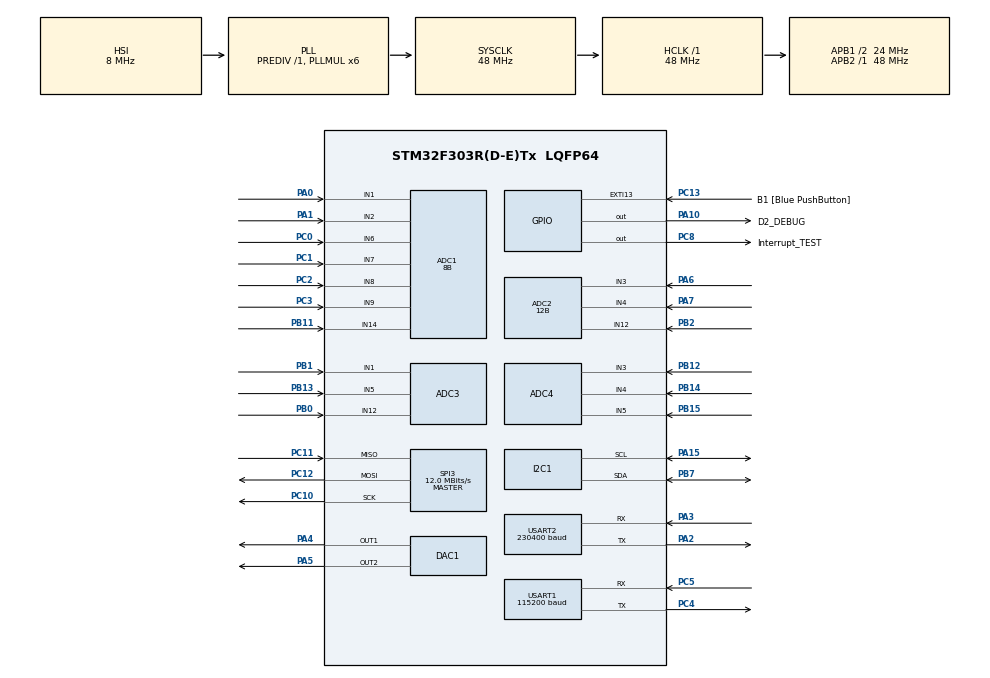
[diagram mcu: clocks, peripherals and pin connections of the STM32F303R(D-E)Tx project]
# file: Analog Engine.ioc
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ADC1.Channel-0\#ChannelRegularConversion=ADC_CHANNEL_1
ADC1.Channel-1\#ChannelRegularConversion=ADC_CHANNEL_2
ADC1.ClockPrescaler=ADC_CLOCK_ASYNC_DIV1
ADC1.ContinuousConvMode=DISABLE
ADC1.DMAContinuousRequests=ENABLE
ADC1.DataAlign=ADC_DATAALIGN_RIGHT
ADC1.DiscontinuousConvMode=DISABLE
ADC1.EOCSelection=ADC_EOC_SEQ_CONV
ADC1.EnableAnalogWatchDog1=false
ADC1.EnableAnalogWatchDog2=false
ADC1.EnableAnalogWatchDog3=false
ADC1.EnableInjectedConversion=ENABLE
ADC1.EnableRegularConversion=ENABLE
ADC1.ExternalTrigConv=ADC_EXTERNALTRIGCONV_T1_TRGO
ADC1.ExternalTrigConvEdge=ADC_EXTERNALTRIGCONVEDGE_RISING
ADC1.InjNumberOfConversion=0
ADC1.LowPowerAutoWait=DISABLE
ADC1.NbrOfConversion=2
ADC1.NbrOfConversionFlag=1
ADC1.Offset-0\#ChannelRegularConversion=0
ADC1.Offset-1\#ChannelRegularConversion=0
ADC1.OffsetNumber-0\#ChannelRegularConversion=ADC_OFFSET_NONE
ADC1.OffsetNumber-1\#ChannelRegularConversion=ADC_OFFSET_NONE
ADC1.Overrun=ADC_OVR_DATA_OVERWRITTEN
ADC1.Rank-0\#ChannelRegularConversion=1
ADC1.Rank-1\#ChannelRegularConversion=2
ADC1.Resolution=ADC_RESOLUTION_8B
ADC1.SamplingTime-0\#ChannelRegularConversion=ADC_SAMPLETIME_19CYCLES_5
ADC1.SamplingTime-1\#ChannelRegularConversion=ADC_SAMPLETIME_19CYCLES_5
ADC1.ScanConvMode=ADC_SCAN_ENABLE
ADC1.master=1
ADC2.Channel-0\#ChannelRegularConversion=ADC_CHANNEL_9
ADC2.ContinuousConvMode=DISABLE
ADC2.DMAContinuousRequests=DISABLE
ADC2.DataAlign=ADC_DATAALIGN_RIGHT
ADC2.DiscontinuousConvMode=DISABLE
ADC2.EOCSelection=ADC_EOC_SINGLE_CONV
ADC2.EnableAnalogWatchDog1=false
ADC2.EnableAnalogWatchDog2=false
ADC2.EnableAnalogWatchDog3=false
ADC2.EnableInjectedConversion=ENABLE
ADC2.EnableRegularConversion=ENABLE
ADC2.ExternalTrigConv=ADC_SOFTWARE_START
ADC2.ExternalTrigConvEdge=ADC_EXTERNALTRIGCONVEDGE_NONE
ADC2.InjNumberOfConversion=0
ADC2.LowPowerAutoWait=DISABLE
ADC2.NbrOfConversion=1
ADC2.NbrOfConversionFlag=1
ADC2.Offset-0\#ChannelRegularConversion=0
ADC2.OffsetNumber-0\#ChannelRegularConversion=ADC_OFFSET_NONE
ADC2.Overrun=ADC_OVR_DATA_OVERWRITTEN
ADC2.Rank-0\#ChannelRegularConversion=1
ADC2.Resolution=ADC_RESOLUTION_12B
ADC2.SamplingTime-0\#ChannelRegularConversion=ADC_SAMPLETIME_1CYCLE_5
ADC2.ScanConvMode=ADC_SCAN_DISABLE
ADC3.Channel-0\#ChannelRegularConversion=ADC_CHANNEL_1
ADC3.NbrOfConversionFlag=1
ADC3.Offset-0\#ChannelRegularConversion=0
ADC3.OffsetNumber-0\#ChannelRegularConversion=ADC_OFFSET_NONE
ADC3.Rank-0\#ChannelRegularConversion=1
ADC3.SamplingTime-0\#ChannelRegularConversion=ADC_SAMPLETIME_1CYCLE_5
ADC3.master=1
ADC4.Channel-0\#ChannelRegularConversion=ADC_CHANNEL_3
ADC4.NbrOfConversionFlag=1
ADC4.Offset-0\#ChannelRegularConversion=0
ADC4.OffsetNumber-0\#ChannelRegularConversion=ADC_OFFSET_NONE
ADC4.Rank-0\#ChannelRegularConversion=1
ADC4.SamplingTime-0\#ChannelRegularConversion=ADC_SAMPLETIME_1CYCLE_5
Dma.ADC1.2.Direction=DMA_PERIPH_TO_MEMORY
Dma.ADC1.2.Instance=DMA1_Channel1
Dma.ADC1.2.MemDataAlignment=DMA_MDATAALIGN_WORD
Dma.ADC1.2.MemInc=DMA_MINC_ENABLE
Dma.ADC1.2.Mode=DMA_CIRCULAR
Dma.ADC1.2.PeriphDataAlignment=DMA_PDATAALIGN_WORD
Dma.ADC1.2.PeriphInc=DMA_PINC_DISABLE
Dma.ADC1.2.Priority=DMA_PRIORITY_LOW
Dma.Request0=USART1_RX
Dma.Request1=USART1_TX
Dma.Request2=ADC1
Dma.USART1_RX.0.Direction=DMA_PERIPH_TO_MEMORY
Dma.USART1_RX.0.Instance=DMA1_Channel5
Dma.USART1_RX.0.MemDataAlignment=DMA_MDATAALIGN_BYTE
Dma.USART1_RX.0.MemInc=DMA_MINC_ENABLE
Dma.USART1_RX.0.Mode=DMA_CIRCULAR
Dma.USART1_RX.0.PeriphDataAlignment=DMA_PDATAALIGN_BYTE
Dma.USART1_RX.0.PeriphInc=DMA_PINC_DISABLE
Dma.USART1_RX.0.Priority=DMA_PRIORITY_LOW
Dma.USART1_TX.1.Direction=DMA_MEMORY_TO_PERIPH
Dma.USART1_TX.1.Instance=DMA1_Channel4
Dma.USART1_TX.1.MemDataAlignment=DMA_MDATAALIGN_BYTE
Dma.USART1_TX.1.MemInc=DMA_MINC_ENABLE
Dma.USART1_TX.1.Mode=DMA_CIRCULAR
Dma.USART1_TX.1.PeriphDataAlignment=DMA_PDATAALIGN_BYTE
Dma.USART1_TX.1.PeriphInc=DMA_PINC_DISABLE
Dma.USART1_TX.1.Priority=DMA_PRIORITY_VERY_HIGH
Mcu.Family=STM32F3
Mcu.Name=STM32F303R(D-E)Tx
Mcu.Package=LQFP64
NVIC.ADC1_2_IRQn=true\:0\:0\:false\:false\:true\:true
NVIC.DMA1_Channel1_IRQn=true\:0\:0\:false\:false\:true\:false
NVIC.DMA1_Channel4_IRQn=true\:0\:0\:false\:false\:true\:false
NVIC.DMA1_Channel5_IRQn=true\:0\:0\:false\:false\:true\:false
NVIC.PriorityGroup=NVIC_PRIORITYGROUP_0
PA0.Mode=IN1-Single-Ended
PA0.Signal=ADC1_IN1
PA1.Mode=IN2-Single-Ended
PA1.Signal=ADC1_IN2
PA10.GPIO_Label=D2_DEBUG
PA10.Signal=GPIO_Output
PA13.GPIO_Label=TMS
PA13.Mode=Serial_Wire
PA13.Signal=SYS_JTMS-SWDIO
PA14.GPIO_Label=TCK
PA14.Mode=Serial_Wire
PA14.Signal=SYS_JTCK-SWCLK
PA15.Mode=I2C
PA15.Signal=I2C1_SCL
PA2.Mode=Asynchronous
PA2.Signal=USART2_TX
PA3.Mode=Asynchronous
PA3.Signal=USART2_RX
PA4.Signal=COMP_DAC11_group
PA5.Signal=COMP_DAC12_group
PA6.Mode=IN3-Single-Ended
PA6.Signal=ADC2_IN3
PA7.Mode=IN4-Single-Ended
PA7.Signal=ADC2_IN4
PB0.Mode=IN12-Single-Ended
PB0.Signal=ADC3_IN12
PB1.Mode=IN1-Single-Ended
PB1.Signal=ADC3_IN1
PB11.Mode=IN14-Single-Ended
PB11.Signal=ADC1_IN14
PB12.Mode=IN3-Single-Ended
PB12.Signal=ADC4_IN3
PB13.Mode=IN5-Single-Ended
PB13.Signal=ADC3_IN5
PB14.Mode=IN4-Single-Ended
PB14.Signal=ADC4_IN4
PB15.Mode=IN5-Single-Ended
PB15.Signal=ADC4_IN5
PB2.Mode=IN12-Single-Ended
PB2.Signal=ADC2_IN12
PB3.GPIO_Label=SWO
PB3.Signal=SYS_JTDO-TRACESWO
PB7.Mode=I2C
PB7.Signal=I2C1_SDA
PC0.Signal=ADCx_IN6
PC1.Signal=ADCx_IN7
PC10.Mode=Full_Duplex_Master
PC10.Signal=SPI3_SCK
PC11.Mode=Full_Duplex_Master
PC11.Signal=SPI3_MISO
PC12.Mode=Full_Duplex_Master
PC12.Signal=SPI3_MOSI
PC13.GPIO_Label=B1 [Blue PushButton]
PC13.GPIO_ModeDefaultEXTI=GPIO_MODE_IT_FALLING
PC13.Signal=GPXTI13
PC14-OSC32_IN.Mode=LSE-External-Oscillator
PC14-OSC32_IN.Signal=RCC_OSC32_IN
PC15-OSC32_OUT.Mode=LSE-External-Oscillator
PC15-OSC32_OUT.Signal=RCC_OSC32_OUT
PC2.Signal=ADCx_IN8
PC3.Signal=ADCx_IN9
PC4.Mode=Asynchronous
PC4.Signal=USART1_TX
PC5.Mode=Asynchronous
PC5.Signal=USART1_RX
PC8.GPIO_Label=Interrupt_TEST
PC8.Signal=GPIO_Output
PF0-OSC_IN.Mode=HSE-External-Clock-Source
PF0-OSC_IN.Signal=RCC_OSC_IN
PF1-OSC_OUT.Signal=RCC_OSC_OUT
ProjectManager.HeapSize=0x200
ProjectManager.StackSize=0x400
ProjectManager.TargetToolchain=SW4STM32
RCC.ADC12PRES=RCC_ADC12PLLCLK_DIV10
RCC.AHBFreq_Value=48000000
RCC.APB1CLKDivider=RCC_HCLK_DIV2
RCC.APB1Freq_Value=24000000
RCC.APB1TimFreq_Value=48000000
RCC.APB2Freq_Value=48000000
RCC.APB2TimFreq_Value=48000000
RCC.CortexFreq_Value=48000000
RCC.HCLKFreq_Value=48000000
RCC.HSE_VALUE=8000000
RCC.HSI_VALUE=8000000
RCC.PLLM=8
RCC.PLLMUL=RCC_PLL_MUL6
RCC.PLLN=336
RCC.PLLP=RCC_PLLP_DIV4
RCC.PLLQ=7
RCC.RCC_PLLsource_Clock_Source_FROM_HSE=RCC_HSE_PREDIV_DIV2
RCC.SYSCLKFreq_VALUE=48000000
RCC.SYSCLKSourceVirtual=RCC_SYSCLKSOURCE_PLLCLK
RCC.USBFreq_Value=48000000
RCC.Usart2ClockSelection=RCC_USART2CLKSOURCE_SYSCLK
SH.ADCx_IN6.0=ADC1_IN6,IN6-Single-Ended
SH.ADCx_IN6.1=ADC2_IN6,IN6-Single-Ended
SH.ADCx_IN7.0=ADC1_IN7,IN7-Single-Ended
SH.ADCx_IN7.1=ADC2_IN7,IN7-Single-Ended
SH.ADCx_IN8.0=ADC1_IN8,IN8-Single-Ended
SH.ADCx_IN8.1=ADC2_IN8,IN8-Single-Ended
SH.ADCx_IN9.0=ADC1_IN9,IN9-Single-Ended
SH.ADCx_IN9.1=ADC2_IN9,IN9-Single-Ended
SH.COMP_DAC11_group.0=DAC1_OUT1,DAC_OUT1
SH.COMP_DAC12_group.0=DAC1_OUT2,Enable_DAC_OUT2
SPI3.CalculateBaudRate=12.0 MBits/s
SPI3.Direction=SPI_DIRECTION_2LINES
SPI3.Mode=SPI_MODE_MASTER
SPI3.VirtualType=VM_MASTER
TIM1.Period=1000
TIM1.Prescaler=1
TIM1.TIM_MasterOutputTrigger=TIM_TRGO_UPDATE
TIM4.Period=65535
TIM4.Prescaler=48
USART1.BaudRate=115200
USART1.VirtualMode-Asynchronous=VM_ASYNC
USART1.WordLength=WORDLENGTH_8B
USART2.BaudRate=230400
USART2.VirtualMode-Asynchronous=VM_ASYNC
USART2.WordLength=WORDLENGTH_8B
VP_TIM1_VS_ClockSourceINT.Mode=Internal
VP_TIM4_VS_ClockSourceINT.Mode=Internal
board=NUCLEO-F303RE

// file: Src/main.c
/**
  ******************************************************************************
  * @file           : main.c
  * @brief          : Main program body
  ******************************************************************************
  ** This notice applies to any and all portions of this file
  * that are not between comment pairs USER CODE BEGIN and
  * USER CODE END. Other portions of this file, whether
  * inserted by the user or by software development tools
  * are owned by their respective copyright owners.
  *
  * COPYRIGHT(c) 2019 STMicroelectronics
  *
  * Redistribution and use in source and binary forms, with or without modification,
  * are permitted provided that the following conditions are met:
  *   1. Redistributions of source code must retain the above copyright notice,
  *      this list of conditions and the following disclaimer.
  *   2. Redistributions in binary form must reproduce the above copyright notice,
  *      this list of conditions and the following disclaimer in the documentation
  *      and/or other materials provided with the distribution.
  *   3. Neither the name of STMicroelectronics nor the names of its contributors
  *      may be used to endorse or promote products derived from this software
  *      without specific prior written permission.
  *
  * THIS SOFTWARE IS PROVIDED BY THE COPYRIGHT HOLDERS AND CONTRIBUTORS "AS IS"
  * AND ANY EXPRESS OR IMPLIED WARRANTIES, INCLUDING, BUT NOT LIMITED TO, THE
  * IMPLIED WARRANTIES OF MERCHANTABILITY AND FITNESS FOR A PARTICULAR PURPOSE ARE
  * DISCLAIMED. IN NO EVENT SHALL THE COPYRIGHT HOLDER OR CONTRIBUTORS BE LIABLE
  * FOR ANY DIRECT, INDIRECT, INCIDENTAL, SPECIAL, EXEMPLARY, OR CONSEQUENTIAL
  * DAMAGES (INCLUDING, BUT NOT LIMITED TO, PROCUREMENT OF SUBSTITUTE GOODS OR
  * SERVICES; LOSS OF USE, DATA, OR PROFITS; OR BUSINESS INTERRUPTION) HOWEVER
  * CAUSED AND ON ANY THEORY OF LIABILITY, WHETHER IN CONTRACT, STRICT LIABILITY,
  * OR TORT (INCLUDING NEGLIGENCE OR OTHERWISE) ARISING IN ANY WAY OUT OF THE USE
  * OF THIS SOFTWARE, EVEN IF ADVISED OF THE POSSIBILITY OF SUCH DAMAGE.
  *
  ******************************************************************************
  */
#include "main.h"
#include "stm32f3xx_hal.h"

ADC_HandleTypeDef hadc1;
ADC_HandleTypeDef hadc2;
ADC_HandleTypeDef hadc3;
ADC_HandleTypeDef hadc4;
DMA_HandleTypeDef hdma_adc1;

DAC_HandleTypeDef hdac1;

I2C_HandleTypeDef hi2c1;

SPI_HandleTypeDef hspi3;

TIM_HandleTypeDef htim1;
TIM_HandleTypeDef htim4;

UART_HandleTypeDef huart1;
UART_HandleTypeDef huart2;
DMA_HandleTypeDef hdma_usart1_rx;
DMA_HandleTypeDef hdma_usart1_tx;

/* USER CODE BEGIN PV */
/* Private variables ---------------------------------------------------------*/

/* USER CODE END PV */

void SystemClock_Config(void);
static void MX_GPIO_Init(void);
static void MX_DMA_Init(void);
static void MX_USART1_UART_Init(void);
static void MX_ADC1_Init(void);
static void MX_USART2_UART_Init(void);
static void MX_ADC2_Init(void);
static void MX_ADC3_Init(void);
static void MX_ADC4_Init(void);
static void MX_I2C1_Init(void);
static void MX_DAC1_Init(void);
static void MX_SPI3_Init(void);
static void MX_TIM1_Init(void);
static void MX_TIM4_Init(void);

/* USER CODE BEGIN PFP */
/* Private function prototypes -----------------------------------------------*/

/* USER CODE END PFP */

int main(void)
 {

  /* MCU Configuration----------------------------------------------------------*/

  /* Reset of all peripherals, Initializes the Flash interface and the Systick. */
  HAL_Init();

  /* Configure the system clock */
  SystemClock_Config();

  /* Initialize all configured peripherals */
  MX_GPIO_Init();
  MX_DMA_Init();
  MX_USART1_UART_Init();
  MX_ADC1_Init();
  MX_USART2_UART_Init();
  MX_ADC2_Init();
  MX_ADC3_Init();
  MX_ADC4_Init();
  MX_I2C1_Init();
  MX_DAC1_Init();
  MX_SPI3_Init();
  MX_TIM1_Init();
  MX_TIM4_Init();
  /* USER CODE BEGIN 2 */
  uint16_t count = 0;
  uint8_t byte;
  int add = +1;
  char str[12];

  char transmit[10];
  char UART_RECIVE[10];
  char test;

  float valVolt = 0.1;
  uint16_t valByte;
  uint32_t timerValue = 0;
  uint32_t values[200];

  uint32_t adc[2], buffer[2], sender [2], internal[48000];
  uint32_t avADC[2];

  //int cycles = 3000;
  //int cycles = 2500;
  int cycles = 50;
  int max1 = 0;
  int max2 = 0;
  int maxOUT1 = 0;
  int maxOUT2 = 0;
  /* USER CODE END 2 */

  /* Infinite loop */
  /* USER CODE BEGIN WHILE */
  HAL_TIM_Base_Start(&htim1);

  HAL_ADC_Start_DMA(&hadc1, buffer, 2);
  HAL_UART_Receive_DMA(&huart1, UART_RECIVE,10);
  //HAL_UART_Transmit_DMA(&huart1, transmit,10);
  HAL_DAC_Start(&hdac1, DAC_CHANNEL_1);
  HAL_DAC_Start(&hdac1, DAC_CHANNEL_2);
  HAL_TIM_Base_Start(&htim1);
  HAL_TIM_Base_Start(&htim4);

uint8_t number = 0;

  while (1)
  {

  /* USER CODE END WHILE */

  /* USER CODE BEGIN 3 */

	  /************* Check for Maximum in the last X Cycles ************/
	  if (count >= cycles){count = 0;}

	  if (max1 < buffer[0]){max1 = buffer[0];}
	  if (max2 < buffer[1]){max2 = buffer[1];}

	  if (count == 0){
		  maxOUT1 = max1;
		  maxOUT2 = max2;
		  max1 = 0;
		  max2 = 0;
		  number++;
		  HAL_UART_Transmit(&huart1, transmit,10,10);
	  }

	 count++;
	 /****************************************************************/
	  transmit[0]=0xFF;
	  transmit[1]=count;
	  transmit[2]=0x02;
	  //transmit[3]=number;
	  //transmit[4]=number;
	  transmit[3]=maxOUT1;
	  transmit[4]=maxOUT2;
	  transmit[5]=0x10;
	  transmit[6]=0x10;
	  transmit[7]=0x10;
	  transmit[8]=0x10;
	  transmit[9]=0x10;

	     //Sort Incoming data

		 int start = 0;
		 int offset = 0;
		 char incommingData[10];

		 for(int i = 0; i<10;i++){
			 if (UART_RECIVE[i] == 0xFF){
				   start = i; //start index
				   break;
			 }
		 }

		 if (start == 0){
			 for (int i = 0; i< 10;i++){
				  incommingData[i] = UART_RECIVE[i];
			 }
		 }
		 else if (start != 0){
			 for (int i = 0; i< 10;i++){
				 incommingData[i] = UART_RECIVE[i+start];
				 offset = i+1;
				 if (i+start == 9){
					 break;
				 }
			 }
			 for (int i = 0; i< 10;i++){
				 incommingData[i+offset] = UART_RECIVE[i];
				 if (i+offset == 9){
					 break;
				 }
			 }
		 }

	  HAL_DAC_SetValue(&hdac1, DAC_CHANNEL_1, DAC_ALIGN_12B_R, incommingData[1]);
	  HAL_DAC_SetValue(&hdac1, DAC_CHANNEL_2, DAC_ALIGN_12B_R, incommingData[6]);

	  //HAL_Delay(1);
	  HAL_GPIO_TogglePin(D2_DEBUG_GPIO_Port, D2_DEBUG_Pin);
	  while (__HAL_TIM_GET_COUNTER(&htim4) < 100){

	  }
	  __HAL_TIM_SET_COUNTER(&htim4 , 0);

  }
  /* USER CODE END 3 */

}

void SystemClock_Config(void)
{

  RCC_OscInitTypeDef RCC_OscInitStruct;
  RCC_ClkInitTypeDef RCC_ClkInitStruct;
  RCC_PeriphCLKInitTypeDef PeriphClkInit;

    /**Initializes the CPU, AHB and APB busses clocks
    */
  RCC_OscInitStruct.OscillatorType = RCC_OSCILLATORTYPE_HSI;
  RCC_OscInitStruct.HSIState = RCC_HSI_ON;
  RCC_OscInitStruct.HSICalibrationValue = 16;
  RCC_OscInitStruct.PLL.PLLState = RCC_PLL_ON;
  RCC_OscInitStruct.PLL.PLLSource = RCC_PLLSOURCE_HSI;
  RCC_OscInitStruct.PLL.PLLMUL = RCC_PLL_MUL6;
  RCC_OscInitStruct.PLL.PREDIV = RCC_PREDIV_DIV1;
  if (HAL_RCC_OscConfig(&RCC_OscInitStruct) != HAL_OK)
  {
    _Error_Handler(__FILE__, __LINE__);
  }

    /**Initializes the CPU, AHB and APB busses clocks
    */
  RCC_ClkInitStruct.ClockType = RCC_CLOCKTYPE_HCLK|RCC_CLOCKTYPE_SYSCLK
                              |RCC_CLOCKTYPE_PCLK1|RCC_CLOCKTYPE_PCLK2;
  RCC_ClkInitStruct.SYSCLKSource = RCC_SYSCLKSOURCE_PLLCLK;
  RCC_ClkInitStruct.AHBCLKDivider = RCC_SYSCLK_DIV1;
  RCC_ClkInitStruct.APB1CLKDivider = RCC_HCLK_DIV2;
  RCC_ClkInitStruct.APB2CLKDivider = RCC_HCLK_DIV1;

  if (HAL_RCC_ClockConfig(&RCC_ClkInitStruct, FLASH_LATENCY_1) != HAL_OK)
  {
    _Error_Handler(__FILE__, __LINE__);
  }

  PeriphClkInit.PeriphClockSelection = RCC_PERIPHCLK_USART1|RCC_PERIPHCLK_USART2
                              |RCC_PERIPHCLK_I2C1|RCC_PERIPHCLK_TIM1
                              |RCC_PERIPHCLK_ADC12|RCC_PERIPHCLK_ADC34
                              |RCC_PERIPHCLK_TIM34;
  PeriphClkInit.Usart1ClockSelection = RCC_USART1CLKSOURCE_PCLK2;
  PeriphClkInit.Usart2ClockSelection = RCC_USART2CLKSOURCE_SYSCLK;
  PeriphClkInit.Adc12ClockSelection = RCC_ADC12PLLCLK_DIV10;
  PeriphClkInit.Adc34ClockSelection = RCC_ADC34PLLCLK_DIV1;
  PeriphClkInit.I2c1ClockSelection = RCC_I2C1CLKSOURCE_HSI;
  PeriphClkInit.Tim1ClockSelection = RCC_TIM1CLK_HCLK;
  PeriphClkInit.Tim34ClockSelection = RCC_TIM34CLK_HCLK;
  if (HAL_RCCEx_PeriphCLKConfig(&PeriphClkInit) != HAL_OK)
  {
    _Error_Handler(__FILE__, __LINE__);
  }

    /**Configure the Systick interrupt time
    */
  HAL_SYSTICK_Config(HAL_RCC_GetHCLKFreq()/1000);

    /**Configure the Systick
    */
  HAL_SYSTICK_CLKSourceConfig(SYSTICK_CLKSOURCE_HCLK);

  /* SysTick_IRQn interrupt configuration */
  HAL_NVIC_SetPriority(SysTick_IRQn, 0, 0);
}

/* ADC1 init function */
static void MX_ADC1_Init(void)
{

  ADC_MultiModeTypeDef multimode;
  ADC_ChannelConfTypeDef sConfig;

    /**Common config
    */
  hadc1.Instance = ADC1;
  hadc1.Init.ClockPrescaler = ADC_CLOCK_ASYNC_DIV1;
  hadc1.Init.Resolution = ADC_RESOLUTION_8B;
  hadc1.Init.ScanConvMode = ADC_SCAN_ENABLE;
  hadc1.Init.ContinuousConvMode = DISABLE;
  hadc1.Init.DiscontinuousConvMode = DISABLE;
  hadc1.Init.ExternalTrigConvEdge = ADC_EXTERNALTRIGCONVEDGE_RISING;
  hadc1.Init.ExternalTrigConv = ADC_EXTERNALTRIGCONV_T1_TRGO;
  hadc1.Init.DataAlign = ADC_DATAALIGN_RIGHT;
  hadc1.Init.NbrOfConversion = 2;
  hadc1.Init.DMAContinuousRequests = ENABLE;
  hadc1.Init.EOCSelection = ADC_EOC_SEQ_CONV;
  hadc1.Init.LowPowerAutoWait = DISABLE;
  hadc1.Init.Overrun = ADC_OVR_DATA_OVERWRITTEN;
  if (HAL_ADC_Init(&hadc1) != HAL_OK)
  {
    _Error_Handler(__FILE__, __LINE__);
  }

    /**Configure the ADC multi-mode
    */
  multimode.Mode = ADC_MODE_INDEPENDENT;
  if (HAL_ADCEx_MultiModeConfigChannel(&hadc1, &multimode) != HAL_OK)
  {
    _Error_Handler(__FILE__, __LINE__);
  }

    /**Configure Regular Channel
    */
  sConfig.Channel = ADC_CHANNEL_1;
  sConfig.Rank = ADC_REGULAR_RANK_1;
  sConfig.SingleDiff = ADC_SINGLE_ENDED;
  sConfig.SamplingTime = ADC_SAMPLETIME_19CYCLES_5;
  sConfig.OffsetNumber = ADC_OFFSET_NONE;
  sConfig.Offset = 0;
  if (HAL_ADC_ConfigChannel(&hadc1, &sConfig) != HAL_OK)
  {
    _Error_Handler(__FILE__, __LINE__);
  }

    /**Configure Regular Channel
    */
  sConfig.Channel = ADC_CHANNEL_2;
  sConfig.Rank = ADC_REGULAR_RANK_2;
  if (HAL_ADC_ConfigChannel(&hadc1, &sConfig) != HAL_OK)
  {
    _Error_Handler(__FILE__, __LINE__);
  }

}

/* ADC2 init function */
static void MX_ADC2_Init(void)
{

  ADC_ChannelConfTypeDef sConfig;

    /**Common config
    */
  hadc2.Instance = ADC2;
  hadc2.Init.ClockPrescaler = ADC_CLOCK_ASYNC_DIV1;
  hadc2.Init.Resolution = ADC_RESOLUTION_12B;
  hadc2.Init.ScanConvMode = ADC_SCAN_DISABLE;
  hadc2.Init.ContinuousConvMode = DISABLE;
  hadc2.Init.DiscontinuousConvMode = DISABLE;
  hadc2.Init.ExternalTrigConvEdge = ADC_EXTERNALTRIGCONVEDGE_NONE;
  hadc2.Init.ExternalTrigConv = ADC_SOFTWARE_START;
  hadc2.Init.DataAlign = ADC_DATAALIGN_RIGHT;
  hadc2.Init.NbrOfConversion = 1;
  hadc2.Init.DMAContinuousRequests = DISABLE;
  hadc2.Init.EOCSelection = ADC_EOC_SINGLE_CONV;
  hadc2.Init.LowPowerAutoWait = DISABLE;
  hadc2.Init.Overrun = ADC_OVR_DATA_OVERWRITTEN;
  if (HAL_ADC_Init(&hadc2) != HAL_OK)
  {
    _Error_Handler(__FILE__, __LINE__);
  }

    /**Configure Regular Channel
    */
  sConfig.Channel = ADC_CHANNEL_9;
  sConfig.Rank = ADC_REGULAR_RANK_1;
  sConfig.SingleDiff = ADC_SINGLE_ENDED;
  sConfig.SamplingTime = ADC_SAMPLETIME_1CYCLE_5;
  sConfig.OffsetNumber = ADC_OFFSET_NONE;
  sConfig.Offset = 0;
  if (HAL_ADC_ConfigChannel(&hadc2, &sConfig) != HAL_OK)
  {
    _Error_Handler(__FILE__, __LINE__);
  }

}

/* ADC3 init function */
static void MX_ADC3_Init(void)
{

  ADC_MultiModeTypeDef multimode;
  ADC_ChannelConfTypeDef sConfig;

    /**Common config
    */
  hadc3.Instance = ADC3;
  hadc3.Init.ClockPrescaler = ADC_CLOCK_ASYNC_DIV1;
  hadc3.Init.Resolution = ADC_RESOLUTION_12B;
  hadc3.Init.ScanConvMode = ADC_SCAN_DISABLE;
  hadc3.Init.ContinuousConvMode = DISABLE;
  hadc3.Init.DiscontinuousConvMode = DISABLE;
  hadc3.Init.ExternalTrigConvEdge = ADC_EXTERNALTRIGCONVEDGE_NONE;
  hadc3.Init.ExternalTrigConv = ADC_SOFTWARE_START;
  hadc3.Init.DataAlign = ADC_DATAALIGN_RIGHT;
  hadc3.Init.NbrOfConversion = 1;
  hadc3.Init.DMAContinuousRequests = DISABLE;
  hadc3.Init.EOCSelection = ADC_EOC_SINGLE_CONV;
  hadc3.Init.LowPowerAutoWait = DISABLE;
  hadc3.Init.Overrun = ADC_OVR_DATA_OVERWRITTEN;
  if (HAL_ADC_Init(&hadc3) != HAL_OK)
  {
    _Error_Handler(__FILE__, __LINE__);
  }

    /**Configure the ADC multi-mode
    */
  multimode.Mode = ADC_MODE_INDEPENDENT;
  if (HAL_ADCEx_MultiModeConfigChannel(&hadc3, &multimode) != HAL_OK)
  {
    _Error_Handler(__FILE__, __LINE__);
  }

    /**Configure Regular Channel
    */
  sConfig.Channel = ADC_CHANNEL_1;
  sConfig.Rank = ADC_REGULAR_RANK_1;
  sConfig.SingleDiff = ADC_SINGLE_ENDED;
  sConfig.SamplingTime = ADC_SAMPLETIME_1CYCLE_5;
  sConfig.OffsetNumber = ADC_OFFSET_NONE;
  sConfig.Offset = 0;
  if (HAL_ADC_ConfigChannel(&hadc3, &sConfig) != HAL_OK)
  {
    _Error_Handler(__FILE__, __LINE__);
  }

}

/* ADC4 init function */
static void MX_ADC4_Init(void)
{

  ADC_ChannelConfTypeDef sConfig;

    /**Common config
    */
  hadc4.Instance = ADC4;
  hadc4.Init.ClockPrescaler = ADC_CLOCK_ASYNC_DIV1;
  hadc4.Init.Resolution = ADC_RESOLUTION_12B;
  hadc4.Init.ScanConvMode = ADC_SCAN_DISABLE;
  hadc4.Init.ContinuousConvMode = DISABLE;
  hadc4.Init.DiscontinuousConvMode = DISABLE;
  hadc4.Init.ExternalTrigConvEdge = ADC_EXTERNALTRIGCONVEDGE_NONE;
  hadc4.Init.ExternalTrigConv = ADC_SOFTWARE_START;
  hadc4.Init.DataAlign = ADC_DATAALIGN_RIGHT;
  hadc4.Init.NbrOfConversion = 1;
  hadc4.Init.DMAContinuousRequests = DISABLE;
  hadc4.Init.EOCSelection = ADC_EOC_SINGLE_CONV;
  hadc4.Init.LowPowerAutoWait = DISABLE;
  hadc4.Init.Overrun = ADC_OVR_DATA_OVERWRITTEN;
  if (HAL_ADC_Init(&hadc4) != HAL_OK)
  {
    _Error_Handler(__FILE__, __LINE__);
  }

    /**Configure Regular Channel
    */
  sConfig.Channel = ADC_CHANNEL_3;
  sConfig.Rank = ADC_REGULAR_RANK_1;
  sConfig.SingleDiff = ADC_SINGLE_ENDED;
  sConfig.SamplingTime = ADC_SAMPLETIME_1CYCLE_5;
  sConfig.OffsetNumber = ADC_OFFSET_NONE;
  sConfig.Offset = 0;
  if (HAL_ADC_ConfigChannel(&hadc4, &sConfig) != HAL_OK)
  {
    _Error_Handler(__FILE__, __LINE__);
  }

}

/* DAC1 init function */
static void MX_DAC1_Init(void)
{

  DAC_ChannelConfTypeDef sConfig;

    /**DAC Initialization
    */
  hdac1.Instance = DAC1;
  if (HAL_DAC_Init(&hdac1) != HAL_OK)
  {
    _Error_Handler(__FILE__, __LINE__);
  }

    /**DAC channel OUT1 config
    */
  sConfig.DAC_Trigger = DAC_TRIGGER_NONE;
  sConfig.DAC_OutputBuffer = DAC_OUTPUTBUFFER_ENABLE;
  if (HAL_DAC_ConfigChannel(&hdac1, &sConfig, DAC_CHANNEL_1) != HAL_OK)
  {
    _Error_Handler(__FILE__, __LINE__);
  }

    /**DAC channel OUT2 config
    */
  if (HAL_DAC_ConfigChannel(&hdac1, &sConfig, DAC_CHANNEL_2) != HAL_OK)
  {
    _Error_Handler(__FILE__, __LINE__);
  }

}

/* I2C1 init function */
static void MX_I2C1_Init(void)
{

  hi2c1.Instance = I2C1;
  hi2c1.Init.Timing = 0x2000090E;
  hi2c1.Init.OwnAddress1 = 0;
  hi2c1.Init.AddressingMode = I2C_ADDRESSINGMODE_7BIT;
  hi2c1.Init.DualAddressMode = I2C_DUALADDRESS_DISABLE;
  hi2c1.Init.OwnAddress2 = 0;
  hi2c1.Init.OwnAddress2Masks = I2C_OA2_NOMASK;
  hi2c1.Init.GeneralCallMode = I2C_GENERALCALL_DISABLE;
  hi2c1.Init.NoStretchMode = I2C_NOSTRETCH_DISABLE;
  if (HAL_I2C_Init(&hi2c1) != HAL_OK)
  {
    _Error_Handler(__FILE__, __LINE__);
  }

    /**Configure Analogue filter
    */
  if (HAL_I2CEx_ConfigAnalogFilter(&hi2c1, I2C_ANALOGFILTER_ENABLE) != HAL_OK)
  {
    _Error_Handler(__FILE__, __LINE__);
  }

    /**Configure Digital filter
    */
  if (HAL_I2CEx_ConfigDigitalFilter(&hi2c1, 0) != HAL_OK)
  {
    _Error_Handler(__FILE__, __LINE__);
  }

}

/* SPI3 init function */
static void MX_SPI3_Init(void)
{

  /* SPI3 parameter configuration*/
  hspi3.Instance = SPI3;
  hspi3.Init.Mode = SPI_MODE_MASTER;
  hspi3.Init.Direction = SPI_DIRECTION_2LINES;
  hspi3.Init.DataSize = SPI_DATASIZE_4BIT;
  hspi3.Init.CLKPolarity = SPI_POLARITY_LOW;
  hspi3.Init.CLKPhase = SPI_PHASE_1EDGE;
  hspi3.Init.NSS = SPI_NSS_SOFT;
  hspi3.Init.BaudRatePrescaler = SPI_BAUDRATEPRESCALER_2;
  hspi3.Init.FirstBit = SPI_FIRSTBIT_MSB;
  hspi3.Init.TIMode = SPI_TIMODE_DISABLE;
  hspi3.Init.CRCCalculation = SPI_CRCCALCULATION_DISABLE;
  hspi3.Init.CRCPolynomial = 7;
  hspi3.Init.CRCLength = SPI_CRC_LENGTH_DATASIZE;
  hspi3.Init.NSSPMode = SPI_NSS_PULSE_ENABLE;
  if (HAL_SPI_Init(&hspi3) != HAL_OK)
  {
    _Error_Handler(__FILE__, __LINE__);
  }

}

/* TIM1 init function */
static void MX_TIM1_Init(void)
{

  TIM_ClockConfigTypeDef sClockSourceConfig;
  TIM_MasterConfigTypeDef sMasterConfig;

  htim1.Instance = TIM1;
  htim1.Init.Prescaler = 1;
  htim1.Init.CounterMode = TIM_COUNTERMODE_UP;
  htim1.Init.Period = 1000;
  htim1.Init.ClockDivision = TIM_CLOCKDIVISION_DIV1;
  htim1.Init.RepetitionCounter = 0;
  htim1.Init.AutoReloadPreload = TIM_AUTORELOAD_PRELOAD_DISABLE;
  if (HAL_TIM_Base_Init(&htim1) != HAL_OK)
  {
    _Error_Handler(__FILE__, __LINE__);
  }

  sClockSourceConfig.ClockSource = TIM_CLOCKSOURCE_INTERNAL;
  if (HAL_TIM_ConfigClockSource(&htim1, &sClockSourceConfig) != HAL_OK)
  {
    _Error_Handler(__FILE__, __LINE__);
  }

  sMasterConfig.MasterOutputTrigger = TIM_TRGO_UPDATE;
  sMasterConfig.MasterOutputTrigger2 = TIM_TRGO2_RESET;
  sMasterConfig.MasterSlaveMode = TIM_MASTERSLAVEMODE_DISABLE;
  if (HAL_TIMEx_MasterConfigSynchronization(&htim1, &sMasterConfig) != HAL_OK)
  {
    _Error_Handler(__FILE__, __LINE__);
  }

}

/* TIM4 init function */
static void MX_TIM4_Init(void)
{

  TIM_ClockConfigTypeDef sClockSourceConfig;
  TIM_MasterConfigTypeDef sMasterConfig;

  htim4.Instance = TIM4;
  htim4.Init.Prescaler = 48;
  htim4.Init.CounterMode = TIM_COUNTERMODE_UP;
  htim4.Init.Period = 65535;
  htim4.Init.ClockDivision = TIM_CLOCKDIVISION_DIV1;
  htim4.Init.AutoReloadPreload = TIM_AUTORELOAD_PRELOAD_DISABLE;
  if (HAL_TIM_Base_Init(&htim4) != HAL_OK)
  {
    _Error_Handler(__FILE__, __LINE__);
  }

  sClockSourceConfig.ClockSource = TIM_CLOCKSOURCE_INTERNAL;
  if (HAL_TIM_ConfigClockSource(&htim4, &sClockSourceConfig) != HAL_OK)
  {
    _Error_Handler(__FILE__, __LINE__);
  }

  sMasterConfig.MasterOutputTrigger = TIM_TRGO_RESET;
  sMasterConfig.MasterSlaveMode = TIM_MASTERSLAVEMODE_DISABLE;
  if (HAL_TIMEx_MasterConfigSynchronization(&htim4, &sMasterConfig) != HAL_OK)
  {
    _Error_Handler(__FILE__, __LINE__);
  }

}

/* USART1 init function */
static void MX_USART1_UART_Init(void)
{

  huart1.Instance = USART1;
  huart1.Init.BaudRate = 115200;
  huart1.Init.WordLength = UART_WORDLENGTH_8B;
  huart1.Init.StopBits = UART_STOPBITS_1;
  huart1.Init.Parity = UART_PARITY_NONE;
  huart1.Init.Mode = UART_MODE_TX_RX;
  huart1.Init.HwFlowCtl = UART_HWCONTROL_NONE;
  huart1.Init.OverSampling = UART_OVERSAMPLING_16;
  huart1.Init.OneBitSampling = UART_ONE_BIT_SAMPLE_DISABLE;
  huart1.AdvancedInit.AdvFeatureInit = UART_ADVFEATURE_NO_INIT;
  if (HAL_UART_Init(&huart1) != HAL_OK)
  {
    _Error_Handler(__FILE__, __LINE__);
  }

}

/* USART2 init function */
static void MX_USART2_UART_Init(void)
{

  huart2.Instance = USART2;
  huart2.Init.BaudRate = 115200;
  huart2.Init.WordLength = UART_WORDLENGTH_8B;
  huart2.Init.StopBits = UART_STOPBITS_1;
  huart2.Init.Parity = UART_PARITY_NONE;
  huart2.Init.Mode = UART_MODE_TX_RX;
  huart2.Init.HwFlowCtl = UART_HWCONTROL_NONE;
  huart2.Init.OverSampling = UART_OVERSAMPLING_16;
  huart2.Init.OneBitSampling = UART_ONE_BIT_SAMPLE_DISABLE;
  huart2.AdvancedInit.AdvFeatureInit = UART_ADVFEATURE_NO_INIT;
  if (HAL_UART_Init(&huart2) != HAL_OK)
  {
    _Error_Handler(__FILE__, __LINE__);
  }

}

static void MX_DMA_Init(void)
{
  /* DMA controller clock enable */
  __HAL_RCC_DMA1_CLK_ENABLE();

  /* DMA interrupt init */
  /* DMA1_Channel1_IRQn interrupt configuration */
  HAL_NVIC_SetPriority(DMA1_Channel1_IRQn, 0, 0);
  HAL_NVIC_EnableIRQ(DMA1_Channel1_IRQn);
  /* DMA1_Channel4_IRQn interrupt configuration */
  HAL_NVIC_SetPriority(DMA1_Channel4_IRQn, 0, 0);
  HAL_NVIC_EnableIRQ(DMA1_Channel4_IRQn);
  /* DMA1_Channel5_IRQn interrupt configuration */
  HAL_NVIC_SetPriority(DMA1_Channel5_IRQn, 0, 0);
  HAL_NVIC_EnableIRQ(DMA1_Channel5_IRQn);

}

/** Configure pins as
        * Analog
        * Input
        * Output
        * EVENT_OUT
        * EXTI
*/
static void MX_GPIO_Init(void)
{

  GPIO_InitTypeDef GPIO_InitStruct;

  /* GPIO Ports Clock Enable */
  __HAL_RCC_GPIOC_CLK_ENABLE();
  __HAL_RCC_GPIOF_CLK_ENABLE();
  __HAL_RCC_GPIOA_CLK_ENABLE();
  __HAL_RCC_GPIOB_CLK_ENABLE();

  /*Configure GPIO pin Output Level */
  HAL_GPIO_WritePin(Interrupt_TEST_GPIO_Port, Interrupt_TEST_Pin, GPIO_PIN_RESET);

  /*Configure GPIO pin Output Level */
  HAL_GPIO_WritePin(D2_DEBUG_GPIO_Port, D2_DEBUG_Pin, GPIO_PIN_RESET);

  /*Configure GPIO pin : B1_Pin */
  GPIO_InitStruct.Pin = B1_Pin;
  GPIO_InitStruct.Mode = GPIO_MODE_IT_FALLING;
  GPIO_InitStruct.Pull = GPIO_NOPULL;
  HAL_GPIO_Init(B1_GPIO_Port, &GPIO_InitStruct);

  /*Configure GPIO pin : Interrupt_TEST_Pin */
  GPIO_InitStruct.Pin = Interrupt_TEST_Pin;
  GPIO_InitStruct.Mode = GPIO_MODE_OUTPUT_PP;
  GPIO_InitStruct.Pull = GPIO_NOPULL;
  GPIO_InitStruct.Speed = GPIO_SPEED_FREQ_LOW;
  HAL_GPIO_Init(Interrupt_TEST_GPIO_Port, &GPIO_InitStruct);

  /*Configure GPIO pin : D2_DEBUG_Pin */
  GPIO_InitStruct.Pin = D2_DEBUG_Pin;
  GPIO_InitStruct.Mode = GPIO_MODE_OUTPUT_PP;
  GPIO_InitStruct.Pull = GPIO_NOPULL;
  GPIO_InitStruct.Speed = GPIO_SPEED_FREQ_LOW;
  HAL_GPIO_Init(D2_DEBUG_GPIO_Port, &GPIO_InitStruct);

}

/* USER CODE BEGIN 4 */
/* USER CODE BEGIN 4 */
void debugPrint(UART_HandleTypeDef *huart, char _out[])
{ HAL_UART_Transmit(huart, (uint8_t *) _out, strlen(_out), 10);
}

void debugPrintln(UART_HandleTypeDef *huart, char _out[]){
      HAL_UART_Transmit(huart, (uint8_t *) _out, strlen(_out), 10);
      char newline[2] = "\r\n";
      HAL_UART_Transmit(huart, (uint8_t *) newline, 2, 10);
}
/* USER CODE END 4 */

void _Error_Handler(char *file, int line)
{
  while(1)
  {
  }
}

/************************ (C) COPYRIGHT STMicroelectronics *****END OF FILE****/
